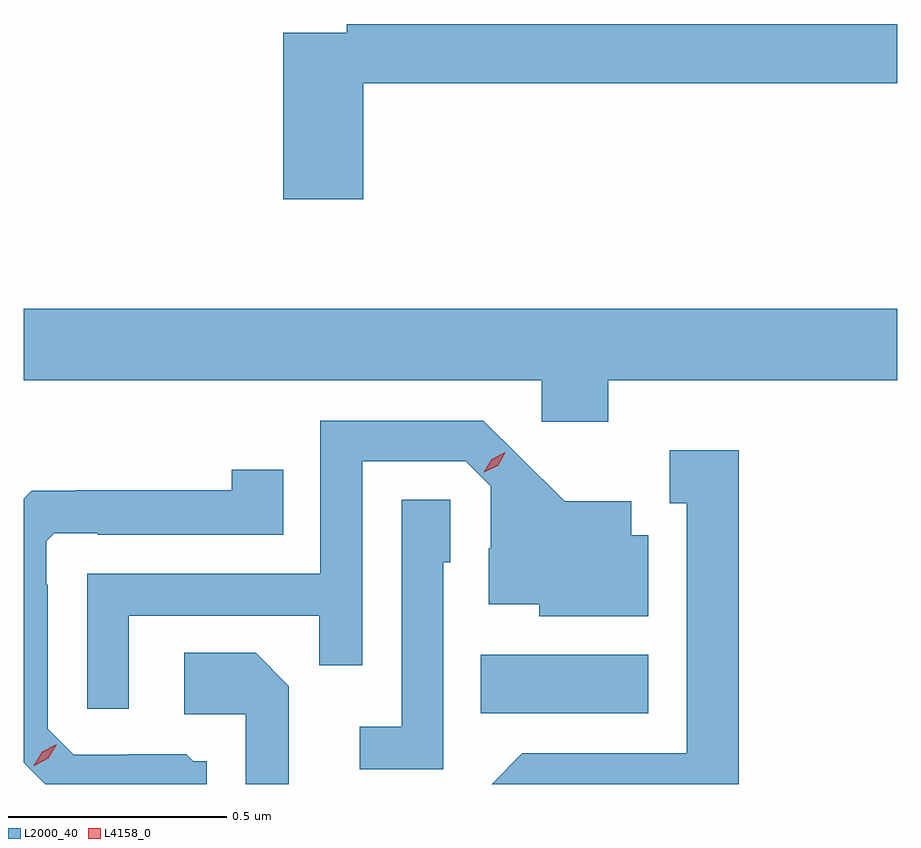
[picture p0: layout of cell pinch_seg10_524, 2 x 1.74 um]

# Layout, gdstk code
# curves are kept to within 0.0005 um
import gdstk
lib = gdstk.Library(unit=1e-6, precision=1e-09)
def R(c, l, rs):  # rectangles x0, y0, x1, y1
    for r in rs: c.add(gdstk.rectangle(r[:2], r[2:], *l))
def P(c, l, *ps):  # polygons
    for p in ps: c.add(gdstk.Polygon(p, *l))
L2000_40 = (2000, 40)
L4158_0 = (4158, 0)

pinch_seg10_524 = lib.new_cell('pinch_seg10_524')
R(pinch_seg10_524, L2000_40, [(251.254,1302.218,251.638,1302.352)])
P(pinch_seg10_524, L2000_40, [(250.985,1303.66),(252.208,1303.66),(252.208,1303.796),(250.948,1303.796),(250.948,1303.776),(250.802,1303.776),(250.802,1303.395),(250.985,1303.395)],
  [(251.546,1302.98),(252.208,1302.98),(252.208,1303.144),(250.208,1303.144),(250.208,1302.98),(251.394,1302.98),(251.394,1302.885),(251.546,1302.885)],
  [(250.449,1302.441),(250.885,1302.441),(250.885,1302.328),(250.983,1302.328),(250.983,1302.795),(251.22,1302.795),(251.277,1302.738),(251.277,1302.596),(251.273,1302.596),(251.273,1302.467),(251.388,1302.467),(251.388,1302.44),(251.638,1302.44),(251.638,1302.625),(251.599,1302.625),(251.599,1302.703),(251.447,1302.703),(251.26,1302.888),(250.887,1302.888),(250.887,1302.537),(250.353,1302.537),(250.353,1302.228),(250.449,1302.228)],
  [(251.845,1302.82),(251.687,1302.82),(251.687,1302.699),(251.726,1302.699),(251.726,1302.126),(251.349,1302.126),(251.279,1302.056),(251.845,1302.056)],
  [(250.627,1302.108),(250.596,1302.108),(250.58,1302.124),(250.446,1302.124),(250.446,1302.123),(250.323,1302.123),(250.263,1302.183),(250.263,1302.512),(250.26,1302.512),(250.26,1302.612),(250.278,1302.63),(250.378,1302.63),(250.378,1302.627),(250.802,1302.627),(250.802,1302.775),(250.684,1302.775),(250.684,1302.728),(250.327,1302.728),(250.327,1302.727),(250.226,1302.727),(250.208,1302.709),(250.208,1302.105),(250.257,1302.056),(250.627,1302.056)],
  [(251.169,1302.564),(251.184,1302.564),(251.184,1302.707),(251.073,1302.707),(251.073,1302.187),(250.977,1302.187),(250.977,1302.09),(251.169,1302.09)],
  [(250.815,1302.28),(250.739,1302.356),(250.575,1302.356),(250.575,1302.216),(250.716,1302.216),(250.716,1302.056),(250.815,1302.056)])
P(pinch_seg10_524, L4158_0, [(251.261,1302.77),(251.261,1302.77),(251.279,1302.8),(251.31,1302.815),(251.31,1302.815),(251.31,1302.814),(251.293,1302.785),(251.262,1302.77)],
  [(250.231,1302.098),(250.231,1302.098),(250.251,1302.13),(250.284,1302.147),(250.284,1302.147),(250.284,1302.147),(250.264,1302.115),(250.232,1302.098)])

lib.write_gds('pinch_seg10_524.gds')
